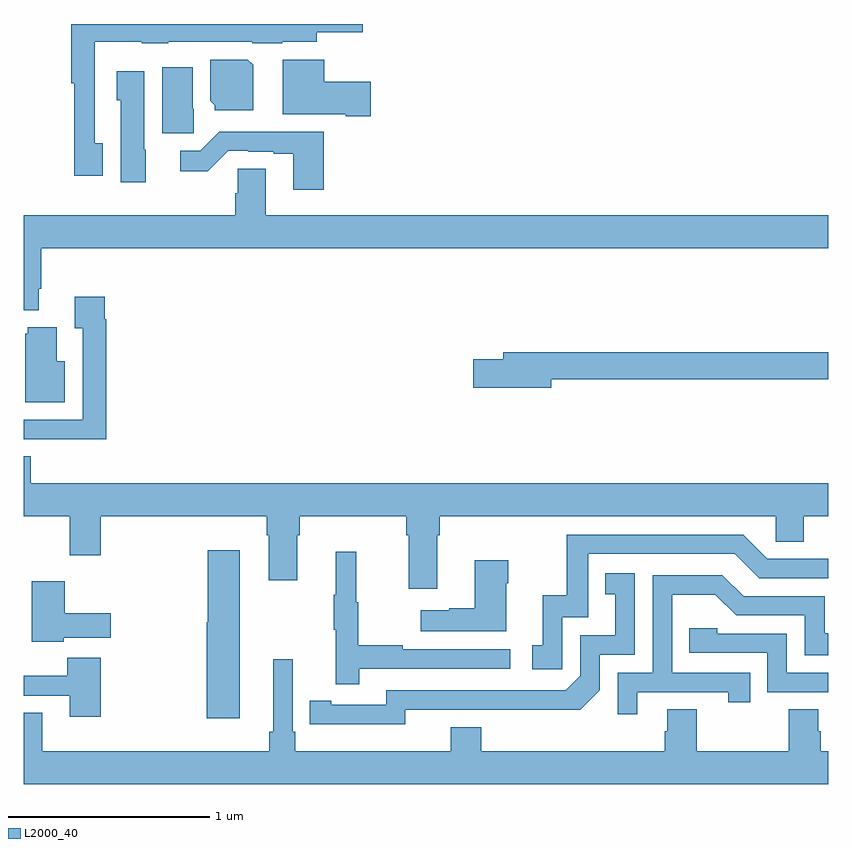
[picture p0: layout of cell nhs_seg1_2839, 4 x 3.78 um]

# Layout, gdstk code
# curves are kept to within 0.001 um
import gdstk
lib = gdstk.Library(unit=1e-6, precision=1e-09)
def P(c, l, *ps):  # polygons
    for p in ps: c.add(gdstk.Polygon(p, *l))
L2000_40 = (2000, 40)

nhs_seg1_2839 = lib.new_cell('nhs_seg1_2839')
P(nhs_seg1_2839, L2000_40, [(265.393,533.606),(265.353,533.606),(265.353,534.11),(265.587,534.11),(265.587,534.104),(265.719,534.104),(265.719,534.111),(266.136,534.111),(266.136,534.104),(266.286,534.104),(266.286,534.11),(266.458,534.11),(266.458,534.158),(266.686,534.158),(266.686,534.199),(265.237,534.199),(265.237,533.904),(265.252,533.904),(265.252,533.445),(265.393,533.445)],
  [(266.14,533.996),(266.114,534.022),(265.928,534.022),(265.928,533.818),(265.95,533.796),(265.95,533.771),(266.14,533.771)],
  [(266.725,533.911),(266.494,533.911),(266.494,534.02),(266.288,534.02),(266.288,533.75),(266.601,533.75),(266.601,533.741),(266.725,533.741)],
  [(265.844,533.778),(265.84,533.778),(265.84,533.983),(265.688,533.983),(265.688,533.655),(265.844,533.655)],
  [(265.606,533.574),(265.6,533.574),(265.6,533.965),(265.463,533.965),(265.463,533.82),(265.481,533.82),(265.481,533.412),(265.606,533.412)],
  [(266.492,533.662),(265.972,533.662),(265.878,533.568),(265.779,533.568),(265.779,533.466),(265.914,533.466),(266.016,533.568),(266.116,533.568),(266.116,533.565),(266.243,533.565),(266.243,533.553),(266.339,533.553),(266.339,533.376),(266.492,533.376)],
  [(265.075,532.882),(265.088,532.882),(265.088,533.084),(269,533.084),(269,533.248),(266.203,533.248),(266.203,533.48),(266.064,533.48),(266.064,533.358),(266.051,533.358),(266.051,533.248),(265,533.248),(265,532.775),(265.075,532.775)],
  [(265.409,532.73),(265.402,532.73),(265.402,532.843),(265.253,532.843),(265.253,532.687),(265.293,532.687),(265.293,532.23),(265,532.23),(265,532.134),(265.117,532.134),(265.117,532.133),(265.409,532.133)],
  [(265.204,532.522),(265.165,532.522),(265.165,532.69),(265.019,532.69),(265.019,532.659),(265.007,532.659),(265.007,532.319),(265.204,532.319)],
  [(267.622,532.432),(269,532.432),(269,532.568),(267.383,532.568),(267.383,532.532),(267.234,532.532),(267.234,532.39),(267.622,532.39)],
  [(267.055,531.656),(267.068,531.656),(267.068,531.752),(268.74,531.752),(268.74,531.625),(268.879,531.625),(268.879,531.752),(269,531.752),(269,531.916),(265.034,531.916),(265.034,532.049),(265,532.049),(265,531.752),(265.229,531.752),(265.229,531.558),(265.382,531.558),(265.382,531.752),(266.207,531.752),(266.207,531.656),(266.219,531.656),(266.219,531.432),(266.359,531.432),(266.359,531.656),(266.372,531.656),(266.372,531.752),(266.903,531.752),(266.903,531.656),(266.915,531.656),(266.915,531.39),(267.055,531.39)],
  [(267.678,531.249),(267.807,531.249),(267.807,531.564),(268.536,531.564),(268.656,531.444),(269,531.444),(269,531.54),(268.698,531.54),(268.578,531.66),(267.699,531.66),(267.699,531.358),(267.581,531.358),(267.581,531.111),(267.528,531.111),(267.528,530.991),(267.678,530.991)],
  [(266.074,531.583),(265.916,531.583),(265.916,531.225),(265.91,531.225),(265.91,530.748),(266.074,530.748)],
  [(266.669,530.994),(267.418,530.994),(267.418,531.09),(266.885,531.09),(266.885,531.11),(266.662,531.11),(266.662,531.324),(266.654,531.324),(266.654,531.574),(266.552,531.574),(266.552,531.361),(266.541,531.361),(266.541,531.187),(266.552,531.187),(266.552,530.916),(266.669,530.916)],
  [(267.4,531.419),(267.408,531.419),(267.408,531.532),(267.242,531.532),(267.242,531.293),(267.116,531.293),(267.116,531.283),(266.973,531.283),(266.973,531.179),(267.4,531.179)],
  [(266.898,530.79),(267.766,530.789),(267.864,530.886),(267.864,531.063),(268.038,531.063),(268.038,531.469),(267.892,531.469),(267.892,531.363),(267.941,531.363),(267.941,531.159),(267.768,531.159),(267.768,530.958),(267.696,530.886),(266.802,530.886),(266.802,530.814),(266.53,530.814),(266.53,530.834),(266.422,530.834),(266.422,530.718),(266.898,530.717)],
  [(268.051,530.877),(268.502,530.877),(268.502,530.826),(268.613,530.826),(268.613,530.973),(268.224,530.973),(268.224,531.362),(268.438,531.362),(268.542,531.258),(268.884,531.258),(268.884,531.06),(269,531.06),(269,531.169),(268.983,531.169),(268.983,531.354),(268.579,531.354),(268.474,531.459),(268.128,531.459),(268.128,530.973),(267.954,530.973),(267.954,530.766),(268.051,530.766)],
  [(265.2,531.146),(265.432,531.146),(265.432,531.268),(265.204,531.268),(265.204,531.427),(265.04,531.427),(265.04,531.128),(265.2,531.128)],
  [(269,530.973),(268.794,530.973),(268.794,531.168),(268.449,531.168),(268.449,531.195),(268.309,531.195),(268.309,531.072),(268.698,531.072),(268.698,530.877),(269,530.877)],
  [(265.382,531.049),(265.217,531.049),(265.217,530.959),(265,530.959),(265,530.859),(265.229,530.859),(265.229,530.754),(265.382,530.754)],
  [(269,530.584),(268.964,530.584),(268.964,530.682),(268.951,530.682),(268.951,530.792),(268.804,530.792),(268.804,530.584),(268.347,530.584),(268.347,530.792),(268.199,530.792),(268.199,530.682),(268.187,530.682),(268.187,530.584),(267.275,530.584),(267.275,530.701),(267.122,530.701),(267.122,530.584),(266.351,530.584),(266.351,530.68),(266.337,530.68),(266.337,531.04),(266.24,531.04),(266.24,530.68),(266.221,530.68),(266.221,530.584),(265.093,530.584),(265.093,530.774),(265,530.774),(265,530.42),(269,530.42)])

lib.write_gds('nhs_seg1_2839.gds')
